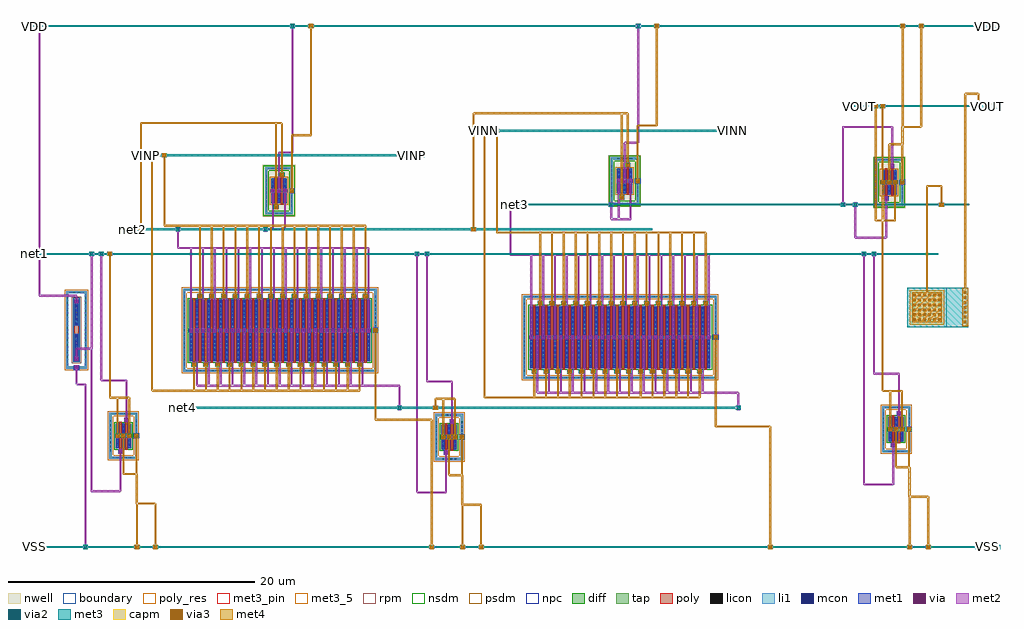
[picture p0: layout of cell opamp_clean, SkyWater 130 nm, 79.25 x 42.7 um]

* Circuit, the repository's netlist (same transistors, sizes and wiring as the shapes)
* NGSPICE file created from opamp_clean.ext - technology: sky130A

.subckt sky130_fd_pr__cap_mim_m3_1_T6P5U4 C2 C1
X0 C1 C2 sky130_fd_pr__cap_mim_m3_1 l=2.8 w=2.8
.ends

.subckt sky130_fd_pr__res_high_po_0p35_TD68X4 B R1 R2
X0 R1 R2 B sky130_fd_pr__res_high_po_0p35 l=0.83
.ends

.subckt sky130_fd_pr__nfet_01v8_BXQZZZ B D0 G0 S1 G1 D2
X0 S1 G0 D0 B sky130_fd_pr__nfet_01v8 ad=0.3 pd=2.3 as=0.59 ps=4.59 w=2 l=0.18
X1 D2 G1 S1 B sky130_fd_pr__nfet_01v8 ad=0.59 pd=4.59 as=0.3 ps=2.3 w=2 l=0.18
.ends

.subckt sky130_fd_pr__nfet_01v8_778P4L B D0 G0 S1 G1 D2 G2 S3 G3 D4 G4 S5 G5 D6 G6
+ S7 G7 D8 G8 S9 G9 D10 G10 S11 G11 D12 G12 S13 G13 D14 G14 S15 G15 D16 G16 S17 G17
+ D18 G18 S19 G19 D20 G20 S21 G21 D22 G22 S23 G23 D24 G24 S25 G25 D26 G26 S27 G27
+ D28 G28 S29 G29 D30
X0 D10 G9 S9 B sky130_fd_pr__nfet_01v8 ad=0.75 pd=5.3 as=0.75 ps=5.3 w=5 l=0.18
X1 S1 G0 D0 B sky130_fd_pr__nfet_01v8 ad=0.75 pd=5.3 as=1.475 ps=10.59 w=5 l=0.18
X2 S7 G6 D6 B sky130_fd_pr__nfet_01v8 ad=0.75 pd=5.3 as=0.75 ps=5.3 w=5 l=0.18
X3 S25 G24 D24 B sky130_fd_pr__nfet_01v8 ad=0.75 pd=5.3 as=0.75 ps=5.3 w=5 l=0.18
X4 D28 G27 S27 B sky130_fd_pr__nfet_01v8 ad=0.75 pd=5.3 as=0.75 ps=5.3 w=5 l=0.18
X5 D18 G17 S17 B sky130_fd_pr__nfet_01v8 ad=0.75 pd=5.3 as=0.75 ps=5.3 w=5 l=0.18
X6 D4 G3 S3 B sky130_fd_pr__nfet_01v8 ad=0.75 pd=5.3 as=0.75 ps=5.3 w=5 l=0.18
X7 S11 G10 D10 B sky130_fd_pr__nfet_01v8 ad=0.75 pd=5.3 as=0.75 ps=5.3 w=5 l=0.18
X8 S21 G20 D20 B sky130_fd_pr__nfet_01v8 ad=0.75 pd=5.3 as=0.75 ps=5.3 w=5 l=0.18
X9 D8 G7 S7 B sky130_fd_pr__nfet_01v8 ad=0.75 pd=5.3 as=0.75 ps=5.3 w=5 l=0.18
X10 D24 G23 S23 B sky130_fd_pr__nfet_01v8 ad=0.75 pd=5.3 as=0.75 ps=5.3 w=5 l=0.18
X11 D14 G13 S13 B sky130_fd_pr__nfet_01v8 ad=0.75 pd=5.3 as=0.75 ps=5.3 w=5 l=0.18
X12 S27 G26 D26 B sky130_fd_pr__nfet_01v8 ad=0.75 pd=5.3 as=0.75 ps=5.3 w=5 l=0.18
X13 S17 G16 D16 B sky130_fd_pr__nfet_01v8 ad=0.75 pd=5.3 as=0.75 ps=5.3 w=5 l=0.18
X14 S5 G4 D4 B sky130_fd_pr__nfet_01v8 ad=0.75 pd=5.3 as=0.75 ps=5.3 w=5 l=0.18
X15 S15 G14 D14 B sky130_fd_pr__nfet_01v8 ad=0.75 pd=5.3 as=0.75 ps=5.3 w=5 l=0.18
X16 D20 G19 S19 B sky130_fd_pr__nfet_01v8 ad=0.75 pd=5.3 as=0.75 ps=5.3 w=5 l=0.18
X17 D30 G29 S29 B sky130_fd_pr__nfet_01v8 ad=1.475 pd=10.59 as=0.75 ps=5.3 w=5 l=0.18
X18 D2 G1 S1 B sky130_fd_pr__nfet_01v8 ad=0.75 pd=5.3 as=0.75 ps=5.3 w=5 l=0.18
X19 D16 G15 S15 B sky130_fd_pr__nfet_01v8 ad=0.75 pd=5.3 as=0.75 ps=5.3 w=5 l=0.18
X20 S23 G22 D22 B sky130_fd_pr__nfet_01v8 ad=0.75 pd=5.3 as=0.75 ps=5.3 w=5 l=0.18
X21 D6 G5 S5 B sky130_fd_pr__nfet_01v8 ad=0.75 pd=5.3 as=0.75 ps=5.3 w=5 l=0.18
X22 D12 G11 S11 B sky130_fd_pr__nfet_01v8 ad=0.75 pd=5.3 as=0.75 ps=5.3 w=5 l=0.18
X23 S19 G18 D18 B sky130_fd_pr__nfet_01v8 ad=0.75 pd=5.3 as=0.75 ps=5.3 w=5 l=0.18
X24 S29 G28 D28 B sky130_fd_pr__nfet_01v8 ad=0.75 pd=5.3 as=0.75 ps=5.3 w=5 l=0.18
X25 S3 G2 D2 B sky130_fd_pr__nfet_01v8 ad=0.75 pd=5.3 as=0.75 ps=5.3 w=5 l=0.18
X26 S9 G8 D8 B sky130_fd_pr__nfet_01v8 ad=0.75 pd=5.3 as=0.75 ps=5.3 w=5 l=0.18
X27 D22 G21 S21 B sky130_fd_pr__nfet_01v8 ad=0.75 pd=5.3 as=0.75 ps=5.3 w=5 l=0.18
X28 D26 G25 S25 B sky130_fd_pr__nfet_01v8 ad=0.75 pd=5.3 as=0.75 ps=5.3 w=5 l=0.18
X29 S13 G12 D12 B sky130_fd_pr__nfet_01v8 ad=0.75 pd=5.3 as=0.75 ps=5.3 w=5 l=0.18
.ends

.subckt sky130_fd_pr__pfet_01v8_ML7HSN B D0 G0 S1 G1 D2
X0 S1 G0 D0 B sky130_fd_pr__pfet_01v8 ad=0.3 pd=2.3 as=0.59 ps=4.59 w=2 l=0.18
X1 D2 G1 S1 B sky130_fd_pr__pfet_01v8 ad=0.59 pd=4.59 as=0.3 ps=2.3 w=2 l=0.18
.ends

.subckt opamp_clean VINP VINN VOUT VDD VSS
XCC VOUT net3 sky130_fd_pr__cap_mim_m3_1_T6P5U4
XR1 VSS VDD net1 sky130_fd_pr__res_high_po_0p35_TD68X4
XM0 VSS net1 net1 VSS net1 net1 sky130_fd_pr__nfet_01v8_BXQZZZ
XM1 VSS net2 VINP net4 VINP net2 VINP net4 VINP net2 VINP net4 VINP net2 VINP net4
+ VINP net2 VINP net4 VINP net2 VINP net4 VINP net2 VINP net4 VINP net2 VINP net4
+ VINP net2 VINP net4 VINP net2 VINP net4 VINP net2 VINP net4 VINP net2 VINP net4
+ VINP net2 VINP net4 VINP net2 VINP net4 VINP net2 VINP net4 VINP net2 sky130_fd_pr__nfet_01v8_778P4L
XM2 VSS net3 VINN net4 VINN net3 VINN net4 VINN net3 VINN net4 VINN net3 VINN net4
+ VINN net3 VINN net4 VINN net3 VINN net4 VINN net3 VINN net4 VINN net3 VINN net4
+ VINN net3 VINN net4 VINN net3 VINN net4 VINN net3 VINN net4 VINN net3 VINN net4
+ VINN net3 VINN net4 VINN net3 VINN net4 VINN net3 VINN net4 VINN net3 sky130_fd_pr__nfet_01v8_778P4L
XM4 VDD net3 net2 VDD net2 net3 sky130_fd_pr__pfet_01v8_ML7HSN
XM3 VDD net2 net2 VDD net2 net2 sky130_fd_pr__pfet_01v8_ML7HSN
XM5 VSS net4 net1 VSS net1 net4 sky130_fd_pr__nfet_01v8_BXQZZZ
XM6 VDD VOUT net3 VDD net3 VOUT sky130_fd_pr__pfet_01v8_ML7HSN
XM7 VSS VOUT net1 VSS net1 VOUT sky130_fd_pr__nfet_01v8_BXQZZZ
.ends

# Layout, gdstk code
import gdstk
lib = gdstk.Library(unit=1e-6, precision=1e-09)
def R(c, l, rs):  # rectangles x0, y0, x1, y1
    for r in rs: c.add(gdstk.rectangle(r[:2], r[2:], *l))
def A(c, l, x, y, w, h, nx, ny, dx, dy):  # array of equal rectangles
    R(c, l, [(x+i*dx, y+j*dy, x+i*dx+w, y+j*dy+h) for i in range(nx) for j in range(ny)])
nwell = (64, 20)
diff = (65, 20)
tap = (65, 44)
poly_res = (66, 13)
poly = (66, 20)
licon = (66, 44)
li1 = (67, 20)
mcon = (67, 44)
met1 = (68, 20)
via = (68, 44)
met2 = (69, 20)
via2 = (69, 44)
met3_5 = (70, 5)
met3_pin = (70, 16)
met3 = (70, 20)
via3 = (70, 44)
met4 = (71, 20)
rpm = (86, 20)
capm = (89, 44)
nsdm = (93, 44)
psdm = (94, 20)
npc = (95, 20)
boundary = (235, 4)

sky130_fd_pr__nfet_01v8_ = lib.new_cell('sky130_fd_pr__nfet_01v8_BXQZZZ')
R(sky130_fd_pr__nfet_01v8_, diff, [(-0.625,-1,0.625,1)])
R(sky130_fd_pr__nfet_01v8_, tap, [(-1.135,-1.87,1.135,-1.7), (-1.135,-1.7,-0.965,1.7), (0.965,-1.7,1.135,1.7), (-1.135,1.7,1.135,1.87)])
R(sky130_fd_pr__nfet_01v8_, poly, [(-0.405,-1.44,-0.075,-1.11), (0.15,-1.13,0.33,1.11), (-0.33,-1.11,-0.15,1.13), (0.075,1.11,0.405,1.44)])
A(sky130_fd_pr__nfet_01v8_, licon, -0.595, -1.87, 0.17, 0.17, 4, 2, 0.34, 3.57)
A(sky130_fd_pr__nfet_01v8_, licon, -1.135, -1.275, 0.17, 0.17, 1, 8, 0, 0.34)
A(sky130_fd_pr__nfet_01v8_, licon, 0.965, -1.275, 0.17, 0.17, 1, 8, 0, 0.34)
A(sky130_fd_pr__nfet_01v8_, licon, -0.565, -0.935, 0.17, 0.17, 3, 6, 0.48, 0.34)
R(sky130_fd_pr__nfet_01v8_, licon, [(-0.325,-1.36,-0.155,-1.19), (0.155,1.19,0.325,1.36)])
A(sky130_fd_pr__nfet_01v8_, li1, -0.565, -1.02, 0.17, 2.04, 3, 1, 0.48, 0)
R(sky130_fd_pr__nfet_01v8_, li1, [(-1.135,-1.87,1.135,-1.7), (-1.135,-1.7,-0.965,1.7), (0.965,-1.7,1.135,1.7), (-0.405,-1.36,-0.075,-1.19), (0.075,1.19,0.405,1.36), (-1.135,1.7,1.135,1.87)])
A(sky130_fd_pr__nfet_01v8_, mcon, -0.565, -0.805, 0.17, 0.17, 3, 5, 0.48, 0.36)
R(sky130_fd_pr__nfet_01v8_, mcon, [(-0.325,-1.36,-0.155,-1.19), (0.155,1.19,0.325,1.36)])
A(sky130_fd_pr__nfet_01v8_, met1, -0.595, -1, 0.23, 2, 3, 1, 0.48, 0)
R(sky130_fd_pr__nfet_01v8_, met1, [(-0.385,-1.39,-0.095,-1.16), (0.095,1.16,0.385,1.39)])
R(sky130_fd_pr__nfet_01v8_, nsdm, [(-0.75,-1.125,0.75,1.125)])
R(sky130_fd_pr__nfet_01v8_, psdm, [(-1.26,-1.995,1.26,-1.575), (-1.26,-1.575,-0.84,1.575), (0.84,-1.575,1.26,1.575), (-1.26,1.575,1.26,1.995)])
R(sky130_fd_pr__nfet_01v8_, npc, [(-0.425,-1.46,-0.055,-1.09), (0.055,1.09,0.425,1.46)])
R(sky130_fd_pr__nfet_01v8_, boundary, [(-1.05,-1.785,1.05,1.785)])
sky130_fd_pr__nfet_01v8_.add(gdstk.Label('B', (0,-1.785), layer=67, texttype=5))
sky130_fd_pr__nfet_01v8_.add(gdstk.Label('D0', (-0.48,0), layer=67, texttype=5))
sky130_fd_pr__nfet_01v8_.add(gdstk.Label('G0', (-0.24,-1.275), layer=67, texttype=5))
sky130_fd_pr__nfet_01v8_.add(gdstk.Label('S1', (0,0), layer=67, texttype=5))
sky130_fd_pr__nfet_01v8_.add(gdstk.Label('G1', (0.24,1.275), layer=67, texttype=5))
sky130_fd_pr__nfet_01v8_.add(gdstk.Label('D2', (0.48,0), layer=67, texttype=5))

c_sky130_fd_pr__nfet_01v8_ = lib.new_cell('sky130_fd_pr__nfet_01v8_778P4L')
R(c_sky130_fd_pr__nfet_01v8_, diff, [(-7.345,-2.5,7.345,2.5)])
R(c_sky130_fd_pr__nfet_01v8_, tap, [(-7.855,-3.37,7.855,-3.2), (-7.855,-3.2,-7.685,3.2), (7.685,-3.2,7.855,3.2), (-7.855,3.2,7.855,3.37)])
A(c_sky130_fd_pr__nfet_01v8_, poly, -7.125, -2.94, 0.33, 0.33, 15, 1, 0.96, 0)
A(c_sky130_fd_pr__nfet_01v8_, poly, -6.57, -2.63, 0.18, 5.24, 15, 1, 0.96, 0)
A(c_sky130_fd_pr__nfet_01v8_, poly, -7.05, -2.61, 0.18, 5.24, 15, 1, 0.96, 0)
A(c_sky130_fd_pr__nfet_01v8_, poly, -6.645, 2.61, 0.33, 0.33, 15, 1, 0.96, 0)
A(c_sky130_fd_pr__nfet_01v8_, licon, -7.225, -3.37, 0.17, 0.17, 43, 2, 0.34, 6.57)
A(c_sky130_fd_pr__nfet_01v8_, licon, -7.045, -2.86, 0.17, 0.17, 15, 1, 0.96, 0)
A(c_sky130_fd_pr__nfet_01v8_, licon, -7.855, -2.805, 0.17, 0.17, 1, 17, 0, 0.34)
A(c_sky130_fd_pr__nfet_01v8_, licon, 7.685, -2.805, 0.17, 0.17, 1, 17, 0, 0.34)
A(c_sky130_fd_pr__nfet_01v8_, licon, -7.285, -2.295, 0.17, 0.17, 31, 14, 0.48, 0.34)
A(c_sky130_fd_pr__nfet_01v8_, licon, -6.565, 2.69, 0.17, 0.17, 15, 1, 0.96, 0)
A(c_sky130_fd_pr__nfet_01v8_, li1, -7.125, -2.86, 0.33, 0.17, 15, 1, 0.96, 0)
A(c_sky130_fd_pr__nfet_01v8_, li1, -7.285, -2.52, 0.17, 5.04, 31, 1, 0.48, 0)
A(c_sky130_fd_pr__nfet_01v8_, li1, -6.645, 2.69, 0.33, 0.17, 15, 1, 0.96, 0)
R(c_sky130_fd_pr__nfet_01v8_, li1, [(-7.855,-3.37,7.855,-3.2), (-7.855,-3.2,-7.685,3.2), (7.685,-3.2,7.855,3.2), (-7.855,3.2,7.855,3.37)])
A(c_sky130_fd_pr__nfet_01v8_, mcon, -7.045, -2.86, 0.17, 0.17, 15, 1, 0.96, 0)
A(c_sky130_fd_pr__nfet_01v8_, mcon, -7.285, -2.425, 0.17, 0.17, 31, 14, 0.48, 0.36)
A(c_sky130_fd_pr__nfet_01v8_, mcon, -6.565, 2.69, 0.17, 0.17, 15, 1, 0.96, 0)
A(c_sky130_fd_pr__nfet_01v8_, met1, -7.105, -2.89, 0.29, 0.23, 15, 1, 0.96, 0)
A(c_sky130_fd_pr__nfet_01v8_, met1, -7.315, -2.5, 0.23, 5, 31, 1, 0.48, 0)
A(c_sky130_fd_pr__nfet_01v8_, met1, -6.625, 2.66, 0.29, 0.23, 15, 1, 0.96, 0)
R(c_sky130_fd_pr__nfet_01v8_, nsdm, [(-7.47,-2.625,7.47,2.625)])
R(c_sky130_fd_pr__nfet_01v8_, psdm, [(-7.98,-3.495,7.98,-3.075), (-7.98,-3.075,-7.56,3.075), (7.56,-3.075,7.98,3.075), (-7.98,3.075,7.98,3.495)])
A(c_sky130_fd_pr__nfet_01v8_, npc, -7.145, -2.96, 0.37, 0.37, 15, 1, 0.96, 0)
A(c_sky130_fd_pr__nfet_01v8_, npc, -6.665, 2.59, 0.37, 0.37, 15, 1, 0.96, 0)
R(c_sky130_fd_pr__nfet_01v8_, boundary, [(-7.77,-3.285,7.77,3.285)])
c_sky130_fd_pr__nfet_01v8_.add(gdstk.Label('B', (0,-3.285), layer=67, texttype=5))
c_sky130_fd_pr__nfet_01v8_.add(gdstk.Label('D0', (-7.2,0), layer=67, texttype=5))
c_sky130_fd_pr__nfet_01v8_.add(gdstk.Label('G0', (-6.96,-2.775), layer=67, texttype=5))
c_sky130_fd_pr__nfet_01v8_.add(gdstk.Label('S1', (-6.72,0), layer=67, texttype=5))
c_sky130_fd_pr__nfet_01v8_.add(gdstk.Label('G1', (-6.48,2.775), layer=67, texttype=5))
c_sky130_fd_pr__nfet_01v8_.add(gdstk.Label('D2', (-6.24,0), layer=67, texttype=5))
c_sky130_fd_pr__nfet_01v8_.add(gdstk.Label('G2', (-6,-2.775), layer=67, texttype=5))
c_sky130_fd_pr__nfet_01v8_.add(gdstk.Label('S3', (-5.76,0), layer=67, texttype=5))
c_sky130_fd_pr__nfet_01v8_.add(gdstk.Label('G3', (-5.52,2.775), layer=67, texttype=5))
c_sky130_fd_pr__nfet_01v8_.add(gdstk.Label('D4', (-5.28,0), layer=67, texttype=5))
c_sky130_fd_pr__nfet_01v8_.add(gdstk.Label('G4', (-5.04,-2.775), layer=67, texttype=5))
c_sky130_fd_pr__nfet_01v8_.add(gdstk.Label('S5', (-4.8,0), layer=67, texttype=5))
c_sky130_fd_pr__nfet_01v8_.add(gdstk.Label('G5', (-4.56,2.775), layer=67, texttype=5))
c_sky130_fd_pr__nfet_01v8_.add(gdstk.Label('D6', (-4.32,0), layer=67, texttype=5))
c_sky130_fd_pr__nfet_01v8_.add(gdstk.Label('G6', (-4.08,-2.775), layer=67, texttype=5))
c_sky130_fd_pr__nfet_01v8_.add(gdstk.Label('S7', (-3.84,0), layer=67, texttype=5))
c_sky130_fd_pr__nfet_01v8_.add(gdstk.Label('G7', (-3.6,2.775), layer=67, texttype=5))
c_sky130_fd_pr__nfet_01v8_.add(gdstk.Label('D8', (-3.36,0), layer=67, texttype=5))
c_sky130_fd_pr__nfet_01v8_.add(gdstk.Label('G8', (-3.12,-2.775), layer=67, texttype=5))
c_sky130_fd_pr__nfet_01v8_.add(gdstk.Label('S9', (-2.88,0), layer=67, texttype=5))
c_sky130_fd_pr__nfet_01v8_.add(gdstk.Label('G9', (-2.64,2.775), layer=67, texttype=5))
c_sky130_fd_pr__nfet_01v8_.add(gdstk.Label('D10', (-2.4,0), layer=67, texttype=5))
c_sky130_fd_pr__nfet_01v8_.add(gdstk.Label('G10', (-2.16,-2.775), layer=67, texttype=5))
c_sky130_fd_pr__nfet_01v8_.add(gdstk.Label('S11', (-1.92,0), layer=67, texttype=5))
c_sky130_fd_pr__nfet_01v8_.add(gdstk.Label('G11', (-1.68,2.775), layer=67, texttype=5))
c_sky130_fd_pr__nfet_01v8_.add(gdstk.Label('D12', (-1.44,0), layer=67, texttype=5))
c_sky130_fd_pr__nfet_01v8_.add(gdstk.Label('G12', (-1.2,-2.775), layer=67, texttype=5))
c_sky130_fd_pr__nfet_01v8_.add(gdstk.Label('S13', (-0.96,0), layer=67, texttype=5))
c_sky130_fd_pr__nfet_01v8_.add(gdstk.Label('G13', (-0.72,2.775), layer=67, texttype=5))
c_sky130_fd_pr__nfet_01v8_.add(gdstk.Label('D14', (-0.48,0), layer=67, texttype=5))
c_sky130_fd_pr__nfet_01v8_.add(gdstk.Label('G14', (-0.24,-2.775), layer=67, texttype=5))
c_sky130_fd_pr__nfet_01v8_.add(gdstk.Label('S15', (0,0), layer=67, texttype=5))
c_sky130_fd_pr__nfet_01v8_.add(gdstk.Label('G15', (0.24,2.775), layer=67, texttype=5))
c_sky130_fd_pr__nfet_01v8_.add(gdstk.Label('D16', (0.48,0), layer=67, texttype=5))
c_sky130_fd_pr__nfet_01v8_.add(gdstk.Label('G16', (0.72,-2.775), layer=67, texttype=5))
c_sky130_fd_pr__nfet_01v8_.add(gdstk.Label('S17', (0.96,0), layer=67, texttype=5))
c_sky130_fd_pr__nfet_01v8_.add(gdstk.Label('G17', (1.2,2.775), layer=67, texttype=5))
c_sky130_fd_pr__nfet_01v8_.add(gdstk.Label('D18', (1.44,0), layer=67, texttype=5))
c_sky130_fd_pr__nfet_01v8_.add(gdstk.Label('G18', (1.68,-2.775), layer=67, texttype=5))
c_sky130_fd_pr__nfet_01v8_.add(gdstk.Label('S19', (1.92,0), layer=67, texttype=5))
c_sky130_fd_pr__nfet_01v8_.add(gdstk.Label('G19', (2.16,2.775), layer=67, texttype=5))
c_sky130_fd_pr__nfet_01v8_.add(gdstk.Label('D20', (2.4,0), layer=67, texttype=5))
c_sky130_fd_pr__nfet_01v8_.add(gdstk.Label('G20', (2.64,-2.775), layer=67, texttype=5))
c_sky130_fd_pr__nfet_01v8_.add(gdstk.Label('S21', (2.88,0), layer=67, texttype=5))
c_sky130_fd_pr__nfet_01v8_.add(gdstk.Label('G21', (3.12,2.775), layer=67, texttype=5))
c_sky130_fd_pr__nfet_01v8_.add(gdstk.Label('D22', (3.36,0), layer=67, texttype=5))
c_sky130_fd_pr__nfet_01v8_.add(gdstk.Label('G22', (3.6,-2.775), layer=67, texttype=5))
c_sky130_fd_pr__nfet_01v8_.add(gdstk.Label('S23', (3.84,0), layer=67, texttype=5))
c_sky130_fd_pr__nfet_01v8_.add(gdstk.Label('G23', (4.08,2.775), layer=67, texttype=5))
c_sky130_fd_pr__nfet_01v8_.add(gdstk.Label('D24', (4.32,0), layer=67, texttype=5))
c_sky130_fd_pr__nfet_01v8_.add(gdstk.Label('G24', (4.56,-2.775), layer=67, texttype=5))
c_sky130_fd_pr__nfet_01v8_.add(gdstk.Label('S25', (4.8,0), layer=67, texttype=5))
c_sky130_fd_pr__nfet_01v8_.add(gdstk.Label('G25', (5.04,2.775), layer=67, texttype=5))
c_sky130_fd_pr__nfet_01v8_.add(gdstk.Label('D26', (5.28,0), layer=67, texttype=5))
c_sky130_fd_pr__nfet_01v8_.add(gdstk.Label('G26', (5.52,-2.775), layer=67, texttype=5))
c_sky130_fd_pr__nfet_01v8_.add(gdstk.Label('S27', (5.76,0), layer=67, texttype=5))
c_sky130_fd_pr__nfet_01v8_.add(gdstk.Label('G27', (6,2.775), layer=67, texttype=5))
c_sky130_fd_pr__nfet_01v8_.add(gdstk.Label('D28', (6.24,0), layer=67, texttype=5))
c_sky130_fd_pr__nfet_01v8_.add(gdstk.Label('G28', (6.48,-2.775), layer=67, texttype=5))
c_sky130_fd_pr__nfet_01v8_.add(gdstk.Label('S29', (6.72,0), layer=67, texttype=5))
c_sky130_fd_pr__nfet_01v8_.add(gdstk.Label('G29', (6.96,2.775), layer=67, texttype=5))
c_sky130_fd_pr__nfet_01v8_.add(gdstk.Label('D30', (7.2,0), layer=67, texttype=5))

sky130_fd_pr__res_high_p = lib.new_cell('sky130_fd_pr__res_high_po_0p35_TD68X4')
R(sky130_fd_pr__res_high_p, tap, [(-0.825,-3.145,0.825,-2.975), (-0.825,-2.975,-0.655,2.975), (0.655,-2.975,0.825,2.975), (-0.825,2.975,0.825,3.145)])
R(sky130_fd_pr__res_high_p, poly_res, [(-0.175,-0.415,0.175,0.415)])
R(sky130_fd_pr__res_high_p, poly, [(-0.175,-2.495,0.175,2.495)])
A(sky130_fd_pr__res_high_p, licon, -0.825, -2.635, 0.17, 0.17, 1, 16, 0, 0.34)
A(sky130_fd_pr__res_high_p, licon, 0.655, -2.635, 0.17, 0.17, 1, 16, 0, 0.34)
R(sky130_fd_pr__res_high_p, licon, [(-0.255,-3.145,-0.085,-2.975), (0.085,-3.145,0.255,-2.975), (-0.095,-2.415,0.095,-0.415), (-0.095,0.415,0.095,2.415), (-0.255,2.975,-0.085,3.145), (0.085,2.975,0.255,3.145)])
R(sky130_fd_pr__res_high_p, li1, [(-0.825,-3.145,0.825,-2.975), (-0.825,-2.975,-0.655,2.975), (0.655,-2.975,0.825,2.975), (-0.175,-2.495,0.175,-0.335), (-0.175,0.335,0.175,2.495), (-0.825,2.975,0.825,3.145)])
A(sky130_fd_pr__res_high_p, mcon, -0.085, -2.4, 0.17, 0.17, 1, 6, 0, 0.36)
A(sky130_fd_pr__res_high_p, mcon, -0.085, 0.425, 0.17, 0.17, 1, 6, 0, 0.36)
R(sky130_fd_pr__res_high_p, met1, [(-0.125,-2.465,0.125,-0.36), (-0.125,0.36,0.125,2.465)])
R(sky130_fd_pr__res_high_p, rpm, [(-0.375,-2.695,0.375,2.695)])
R(sky130_fd_pr__res_high_p, psdm, [(-0.95,-3.27,0.95,3.27)])
R(sky130_fd_pr__res_high_p, npc, [(-0.27,-2.59,0.27,2.59)])
R(sky130_fd_pr__res_high_p, boundary, [(-0.74,-3.06,0.74,3.06)])
sky130_fd_pr__res_high_p.add(gdstk.Label('B', (0,-3.06), layer=67, texttype=5))
sky130_fd_pr__res_high_p.add(gdstk.Label('R1', (0,2.32), layer=67, texttype=5))
sky130_fd_pr__res_high_p.add(gdstk.Label('R2', (0,-2.32), layer=67, texttype=5))

sky130_fd_pr__cap_mim_m3 = lib.new_cell('sky130_fd_pr__cap_mim_m3_1_T6P5U4')
R(sky130_fd_pr__cap_mim_m3, met3, [(-2.48,-1.6,2.48,1.6)])
A(sky130_fd_pr__cap_mim_m3, via3, 2.12, -1.3, 0.2, 0.2, 1, 7, 0, 0.4)
A(sky130_fd_pr__cap_mim_m3, via3, -1.98, -1.1, 0.2, 0.2, 6, 6, 0.4, 0.4)
R(sky130_fd_pr__cap_mim_m3, met4, [(1.98,-1.54,2.46,1.54), (-2.085,-1.205,0.325,1.205)])
R(sky130_fd_pr__cap_mim_m3, capm, [(-2.28,-1.4,0.52,1.4)])
R(sky130_fd_pr__cap_mim_m3, boundary, [(-2.48,-1.6,0.72,1.6)])
sky130_fd_pr__cap_mim_m3.add(gdstk.Label('C2', (2.22,0), layer=71, texttype=5))
sky130_fd_pr__cap_mim_m3.add(gdstk.Label('C1', (-0.88,0), layer=71, texttype=5))

sky130_fd_pr__pfet_01v8_ = lib.new_cell('sky130_fd_pr__pfet_01v8_ML7HSN')
R(sky130_fd_pr__pfet_01v8_, nwell, [(-1.315,-2.095,1.315,2.095)])
R(sky130_fd_pr__pfet_01v8_, diff, [(-0.625,-1,0.625,1)])
R(sky130_fd_pr__pfet_01v8_, tap, [(-1.135,-1.915,1.135,-1.745), (-1.135,-1.745,-0.965,1.745), (0.965,-1.745,1.135,1.745), (-1.135,1.745,1.135,1.915)])
R(sky130_fd_pr__pfet_01v8_, poly, [(-0.405,-1.485,-0.075,-1.155), (-0.33,-1.155,-0.15,1.13), (0.15,-1.13,0.33,1.155), (0.075,1.155,0.405,1.485)])
A(sky130_fd_pr__pfet_01v8_, licon, -0.595, -1.915, 0.17, 0.17, 4, 2, 0.34, 3.66)
A(sky130_fd_pr__pfet_01v8_, licon, -1.135, -1.275, 0.17, 0.17, 1, 8, 0, 0.34)
A(sky130_fd_pr__pfet_01v8_, licon, 0.965, -1.275, 0.17, 0.17, 1, 8, 0, 0.34)
A(sky130_fd_pr__pfet_01v8_, licon, -0.565, -0.935, 0.17, 0.17, 3, 6, 0.48, 0.34)
R(sky130_fd_pr__pfet_01v8_, licon, [(-0.325,-1.405,-0.155,-1.235), (0.155,1.235,0.325,1.405)])
A(sky130_fd_pr__pfet_01v8_, li1, -0.565, -1.02, 0.17, 2.04, 3, 1, 0.48, 0)
R(sky130_fd_pr__pfet_01v8_, li1, [(-1.135,-1.915,1.135,-1.745), (-1.135,-1.745,-0.965,1.745), (0.965,-1.745,1.135,1.745), (-0.405,-1.405,-0.075,-1.235), (0.075,1.235,0.405,1.405), (-1.135,1.745,1.135,1.915)])
A(sky130_fd_pr__pfet_01v8_, mcon, -0.565, -0.805, 0.17, 0.17, 3, 5, 0.48, 0.36)
R(sky130_fd_pr__pfet_01v8_, mcon, [(-0.325,-1.405,-0.155,-1.235), (0.155,1.235,0.325,1.405)])
A(sky130_fd_pr__pfet_01v8_, met1, -0.595, -1, 0.23, 2, 3, 1, 0.48, 0)
R(sky130_fd_pr__pfet_01v8_, met1, [(-0.385,-1.435,-0.095,-1.205), (0.095,1.205,0.385,1.435)])
R(sky130_fd_pr__pfet_01v8_, nsdm, [(-1.26,-2.04,1.26,-1.62), (-1.26,-1.62,-0.84,1.62), (0.84,-1.62,1.26,1.62), (-1.26,1.62,1.26,2.04)])
R(sky130_fd_pr__pfet_01v8_, psdm, [(-0.75,-1.125,0.75,1.125)])
R(sky130_fd_pr__pfet_01v8_, npc, [(-0.425,-1.505,-0.055,-1.135), (0.055,1.135,0.425,1.505)])
R(sky130_fd_pr__pfet_01v8_, boundary, [(-1.05,-1.83,1.05,1.83)])
sky130_fd_pr__pfet_01v8_.add(gdstk.Label('B', (0,-1.83), layer=67, texttype=5))
sky130_fd_pr__pfet_01v8_.add(gdstk.Label('D0', (-0.48,0), layer=67, texttype=5))
sky130_fd_pr__pfet_01v8_.add(gdstk.Label('G0', (-0.24,-1.32), layer=67, texttype=5))
sky130_fd_pr__pfet_01v8_.add(gdstk.Label('S1', (0,0), layer=67, texttype=5))
sky130_fd_pr__pfet_01v8_.add(gdstk.Label('G1', (0.24,1.32), layer=67, texttype=5))
sky130_fd_pr__pfet_01v8_.add(gdstk.Label('D2', (0.48,0), layer=67, texttype=5))

opamp_clean = lib.new_cell('opamp_clean')
R(opamp_clean, li1, [(22.39,-5.545,22.74,-5.195), (-4.05,-5.455,-3.7,-5.105), (58.69,-4.905,59.04,-4.555), (-8.91,0.095,-8.56,0.445), (42.99,2.555,43.34,2.905), (15.365,3.11,15.715,3.46), (8.58,14.45,8.93,14.8), (58.13,15.13,58.48,15.48), (36.65,15.24,37,15.59)])
R(opamp_clean, mcon, [(22.48,-5.455,22.65,-5.285), (-3.96,-5.365,-3.79,-5.195), (58.78,-4.815,58.95,-4.645), (-8.82,0.185,-8.65,0.355), (43.08,2.645,43.25,2.815), (15.455,3.2,15.625,3.37), (8.67,14.54,8.84,14.71), (58.22,15.22,58.39,15.39), (36.74,15.33,36.91,15.5)])
A(opamp_clean, met1, 20.855, -5.5, 0.36, 0.26, 3, 1, 0.48, 0)
A(opamp_clean, met1, -5.585, -5.41, 0.36, 0.26, 3, 1, 0.48, 0)
A(opamp_clean, met1, 57.155, -4.86, 0.36, 0.26, 3, 1, 0.48, 0)
A(opamp_clean, met1, 28.255, -0.175, 0.36, 0.26, 15, 1, 0.96, 0)
A(opamp_clean, met1, 0.63, 0.38, 0.36, 0.26, 15, 1, 0.96, 0)
A(opamp_clean, met1, 28.015, 2.6, 0.36, 0.26, 31, 1, 0.48, 0)
A(opamp_clean, met1, 0.39, 3.155, 0.36, 0.26, 31, 1, 0.48, 0)
A(opamp_clean, met1, 28.735, 5.375, 0.36, 0.26, 15, 1, 0.96, 0)
A(opamp_clean, met1, 1.11, 5.93, 0.36, 0.26, 15, 1, 0.96, 0)
A(opamp_clean, met1, 7.045, 14.495, 0.36, 0.26, 3, 1, 0.48, 0)
A(opamp_clean, met1, 56.595, 15.175, 0.36, 0.26, 3, 1, 0.48, 0)
A(opamp_clean, met1, 35.115, 15.285, 0.36, 0.26, 3, 1, 0.48, 0)
R(opamp_clean, met1, [(21.095,-6.775,21.455,-6.515), (-5.345,-6.685,-4.985,-6.425), (57.395,-6.135,57.755,-5.875), (22.33,-5.575,22.8,-5.165), (-4.11,-5.485,-3.64,-5.075), (58.63,-4.935,59.1,-4.525), (21.575,-4.225,21.935,-3.965), (-4.865,-4.135,-4.505,-3.875), (57.875,-3.585,58.235,-3.325), (-8.97,0.065,-8.5,0.475), (-8.915,0.88,-8.555,1.14), (42.93,2.525,43.4,2.935), (15.305,3.08,15.775,3.49), (-8.915,5.52,-8.555,5.78), (7.285,13.175,7.645,13.435), (56.835,13.855,57.195,14.115), (35.355,13.965,35.715,14.225), (8.52,14.42,8.99,14.83), (58.07,15.1,58.54,15.51), (36.59,15.21,37.06,15.62), (7.765,15.815,8.125,16.075), (57.315,16.495,57.675,16.755), (35.835,16.605,36.195,16.865)])
A(opamp_clean, via, 20.96, -5.445, 0.15, 0.15, 3, 1, 0.48, 0)
A(opamp_clean, via, -5.48, -5.355, 0.15, 0.15, 3, 1, 0.48, 0)
A(opamp_clean, via, 57.26, -4.805, 0.15, 0.15, 3, 1, 0.48, 0)
A(opamp_clean, via, 28.36, -0.12, 0.15, 0.15, 15, 1, 0.96, 0)
A(opamp_clean, via, 0.735, 0.435, 0.15, 0.15, 15, 1, 0.96, 0)
A(opamp_clean, via, 28.12, 2.655, 0.15, 0.15, 31, 1, 0.48, 0)
A(opamp_clean, via, 0.495, 3.21, 0.15, 0.15, 31, 1, 0.48, 0)
A(opamp_clean, via, 28.84, 5.43, 0.15, 0.15, 15, 1, 0.96, 0)
A(opamp_clean, via, 1.215, 5.985, 0.15, 0.15, 15, 1, 0.96, 0)
A(opamp_clean, via, 7.15, 14.55, 0.15, 0.15, 3, 1, 0.48, 0)
A(opamp_clean, via, 56.7, 15.23, 0.15, 0.15, 3, 1, 0.48, 0)
A(opamp_clean, via, 35.22, 15.34, 0.15, 0.15, 3, 1, 0.48, 0)
R(opamp_clean, via, [(21.2,-6.72,21.35,-6.57), (-5.24,-6.63,-5.09,-6.48), (57.5,-6.08,57.65,-5.93), (22.49,-5.445,22.64,-5.295), (-3.95,-5.355,-3.8,-5.205), (58.79,-4.805,58.94,-4.655), (21.68,-4.17,21.83,-4.02), (-4.76,-4.08,-4.61,-3.93), (57.98,-3.53,58.13,-3.38), (-8.81,0.195,-8.66,0.345), (-8.81,0.935,-8.66,1.085), (43.09,2.655,43.24,2.805), (15.465,3.21,15.615,3.36), (-8.81,5.575,-8.66,5.725), (7.39,13.23,7.54,13.38), (56.94,13.91,57.09,14.06), (35.46,14.02,35.61,14.17), (8.68,14.55,8.83,14.7), (58.23,15.23,58.38,15.38), (36.75,15.34,36.9,15.49), (7.87,15.87,8.02,16.02), (57.42,16.55,57.57,16.7), (35.94,16.66,36.09,16.81)])
A(opamp_clean, met2, 20.895, -5.56, 0.28, 0.38, 3, 1, 0.48, 0)
A(opamp_clean, met2, -5.545, -5.47, 0.28, 0.38, 3, 1, 0.48, 0)
A(opamp_clean, met2, 57.195, -4.92, 0.28, 0.38, 3, 1, 0.48, 0)
A(opamp_clean, met2, 28.605, -1.7, 0.14, 4.25, 15, 1, 0.96, 0)
A(opamp_clean, met2, 0.98, -1.145, 0.14, 4.25, 15, 1, 0.96, 0)
A(opamp_clean, met2, 28.295, -0.235, 0.28, 0.38, 15, 1, 0.96, 0)
A(opamp_clean, met2, 0.67, 0.32, 0.28, 0.38, 15, 1, 0.96, 0)
A(opamp_clean, met2, 28.065, 2.55, 0.26, 0.36, 31, 1, 0.48, 0)
A(opamp_clean, met2, 28.125, 2.91, 0.14, 6.45, 16, 1, 0.96, 0)
A(opamp_clean, met2, 0.44, 3.105, 0.26, 0.36, 31, 1, 0.48, 0)
A(opamp_clean, met2, 0.5, 3.465, 0.14, 6.45, 16, 1, 0.96, 0)
A(opamp_clean, met2, 28.775, 5.315, 0.28, 0.38, 15, 1, 0.96, 0)
A(opamp_clean, met2, 1.15, 5.87, 0.28, 0.38, 15, 1, 0.96, 0)
A(opamp_clean, met2, 7.095, 14.445, 0.26, 0.36, 3, 1, 0.48, 0)
A(opamp_clean, met2, 56.635, 15.115, 0.28, 0.38, 3, 1, 0.48, 0)
A(opamp_clean, met2, 35.165, 15.235, 0.26, 0.36, 3, 1, 0.48, 0)
R(opamp_clean, met2, [(-8.14,-14.49,-7.86,-14.11), (-8.07,-14.11,-7.93,-1.17), (18.915,-9.94,21.275,-9.87), (18.845,-9.87,21.345,-9.8), (-7.525,-9.85,-5.165,-9.78), (18.845,-9.8,18.985,9.31), (21.205,-9.8,21.345,-6.825), (-7.595,-9.78,-5.095,-9.71), (-7.595,-9.71,-7.455,1.73), (-5.235,-9.71,-5.095,-6.735), (55.215,-9.3,57.575,-9.23), (55.145,-9.23,57.645,-9.16), (55.145,-9.16,55.285,9.31), (57.505,-9.16,57.645,-6.185), (21.145,-6.825,21.405,-6.465), (-5.295,-6.735,-5.035,-6.375), (57.445,-6.185,57.705,-5.825), (22.425,-5.56,22.705,-5.18), (-4.015,-5.47,-3.735,-5.09), (58.725,-4.92,59.005,-4.54), (21.625,-4.275,21.885,-3.915), (-4.815,-4.185,-4.555,-3.825), (21.685,-3.915,21.825,-0.94), (-4.755,-3.825,-4.615,-0.85), (57.925,-3.635,58.185,-3.275), (57.985,-3.275,58.125,-0.3), (17.36,-3.19,17.64,-2.81), (44.86,-3.19,45.14,-2.81), (17.43,-2.81,17.57,-1.285), (44.93,-2.81,45.07,-1.84), (28.675,-1.84,45.07,-1.77), (28.605,-1.77,45,-1.7), (1.05,-1.285,17.57,-1.215), (0.98,-1.215,17.5,-1.145), (-8.735,-1.17,-7.93,-1.1), (-8.805,-1.1,-8,-1.03), (-8.805,-1.03,-8.665,0.09), (19.715,-0.94,21.825,-0.87), (19.645,-0.87,21.755,-0.8), (-6.725,-0.85,-4.615,-0.78), (19.645,-0.8,19.785,9.31), (-6.795,-0.78,-4.685,-0.71), (-6.795,-0.71,-6.655,9.31), (56.015,-0.3,58.125,-0.23), (55.945,-0.23,58.055,-0.16), (55.945,-0.16,56.085,9.31), (-8.865,0.09,-8.605,0.45), (-8.865,0.83,-8.605,1.19), (-8.805,1.19,-8.665,1.73), (-8.805,1.73,-7.455,1.8), (-8.735,1.8,-7.43,1.87), (-7.595,1.87,-7.43,9.31), (43.025,2.54,43.305,2.92), (15.4,3.095,15.68,3.475), (-8.865,5.47,-8.605,5.83), (-8.805,5.83,-8.665,6.03), (-11.75,6.03,-8.665,6.1), (-11.82,6.1,-8.735,6.17), (-11.82,6.17,-11.68,27.81), (-7.665,9.31,-7.36,9.69), (-6.865,9.31,-6.585,9.69), (18.775,9.31,19.055,9.69), (19.575,9.31,19.855,9.69), (55.075,9.31,55.355,9.69), (55.875,9.31,56.155,9.69), (26.5,9.36,42.665,9.43), (26.43,9.43,42.595,9.5), (26.43,9.5,26.57,13.31), (-0.5,9.915,15.04,9.985), (-0.57,9.985,14.97,10.055), (-0.57,10.055,-0.43,11.31), (54.5,10.735,57.015,10.805), (54.43,10.805,57.085,10.875), (54.43,10.875,54.57,13.31), (56.945,10.875,57.085,13.805), (-0.64,11.31,-0.36,11.69), (6.465,11.31,6.745,11.455), (6.465,11.455,8.185,11.525), (6.465,11.525,8.255,11.595), (6.465,11.595,6.745,11.69), (7.155,11.595,7.295,14.445), (8.115,11.595,8.255,14.445), (34.675,12.245,36.255,12.315), (34.605,12.315,36.325,12.385), (34.605,12.385,34.745,13.31), (35.225,12.385,35.365,15.235), (36.185,12.385,36.325,15.235), (7.325,13.115,7.605,13.495), (26.36,13.31,26.64,13.69), (34.535,13.31,34.815,13.69), (53.36,13.31,53.64,13.69), (54.36,13.31,54.64,13.69), (53.43,13.69,53.57,19.735), (56.885,13.805,57.145,14.165), (35.395,13.905,35.675,14.285), (8.615,14.435,8.895,14.815), (7.635,14.805,7.775,17.655), (58.165,15.115,58.445,15.495), (36.685,15.225,36.965,15.605), (35.705,15.595,35.845,18.445), (7.805,15.755,8.085,16.135), (57.365,16.445,57.625,16.805), (35.875,16.545,36.155,16.925), (57.425,16.805,57.565,19.735), (7.635,17.655,8.805,17.725), (7.705,17.725,8.875,17.795), (8.735,17.795,8.875,27.81), (35.705,18.445,36.875,18.515), (35.775,18.515,36.945,18.585), (36.805,18.585,36.945,27.81), (53.43,19.735,57.565,19.805), (53.5,19.805,57.495,19.875), (-11.89,27.81,-11.61,28.19), (8.665,27.81,8.945,28.19), (36.735,27.81,37.015,28.19)])
A(opamp_clean, via2, 20.935, -5.47, 0.2, 0.2, 3, 1, 0.48, 0)
A(opamp_clean, via2, -5.505, -5.38, 0.2, 0.2, 3, 1, 0.48, 0)
A(opamp_clean, via2, 57.235, -4.83, 0.2, 0.2, 3, 1, 0.48, 0)
A(opamp_clean, via2, 28.335, -0.145, 0.2, 0.2, 15, 1, 0.96, 0)
A(opamp_clean, via2, 0.71, 0.41, 0.2, 0.2, 15, 1, 0.96, 0)
A(opamp_clean, via2, 28.815, 5.405, 0.2, 0.2, 15, 1, 0.96, 0)
A(opamp_clean, via2, 1.19, 5.96, 0.2, 0.2, 15, 1, 0.96, 0)
A(opamp_clean, via2, 56.675, 15.205, 0.2, 0.2, 3, 1, 0.48, 0)
R(opamp_clean, via2, [(-8.1,-14.4,-7.9,-14.2), (22.465,-5.47,22.665,-5.27), (-3.975,-5.38,-3.775,-5.18), (58.765,-4.83,58.965,-4.63), (17.4,-3.1,17.6,-2.9), (44.9,-3.1,45.1,-2.9), (43.065,2.63,43.265,2.83), (15.44,3.185,15.64,3.385), (-7.615,9.4,-7.415,9.6), (-6.825,9.4,-6.625,9.6), (18.815,9.4,19.015,9.6), (19.615,9.4,19.815,9.6), (55.115,9.4,55.315,9.6), (55.915,9.4,56.115,9.6), (-0.6,11.4,-0.4,11.6), (6.505,11.4,6.705,11.6), (7.365,13.205,7.565,13.405), (26.4,13.4,26.6,13.6), (34.575,13.4,34.775,13.6), (53.4,13.4,53.6,13.6), (54.4,13.4,54.6,13.6), (35.435,13.995,35.635,14.195), (8.655,14.525,8.855,14.725), (58.205,15.205,58.405,15.405), (36.725,15.315,36.925,15.515), (7.845,15.845,8.045,16.045), (35.915,16.635,36.115,16.835), (-11.85,27.9,-11.65,28.1), (8.705,27.9,8.905,28.1), (36.775,27.9,36.975,28.1)])
R(opamp_clean, met3_5, [(-12.6,-14.37,-11.7,-14.23), (-0.6,-3.07,0.3,-2.93), (-12.6,9.43,-11.7,9.57), (-4.6,11.43,-3.7,11.57), (26.4,13.43,27.3,13.57), (-3.6,17.43,-2.7,17.57), (23.9,19.43,24.8,19.57), (54.4,21.43,55.3,21.57), (-12.6,27.93,-11.7,28.07)])
R(opamp_clean, met3_pin, [(64.25,-14.5,66.25,-14.1), (17.5,17.3,19.5,17.7), (43.5,19.3,45.5,19.7), (64.25,21.3,66.25,21.7), (64.25,27.8,66.25,28.2)])
A(opamp_clean, met3, 20.845, -5.535, 0.38, 0.005, 3, 2, 0.48, 0.325)
A(opamp_clean, met3, 20.825, -5.53, 0.42, 0.32, 3, 1, 0.48, 0)
A(opamp_clean, met3, -5.595, -5.445, 0.38, 0.005, 3, 2, 0.48, 0.325)
A(opamp_clean, met3, -5.615, -5.44, 0.42, 0.32, 3, 1, 0.48, 0)
A(opamp_clean, met3, 57.145, -4.895, 0.38, 0.005, 3, 2, 0.48, 0.325)
A(opamp_clean, met3, 57.125, -4.89, 0.42, 0.32, 3, 1, 0.48, 0)
A(opamp_clean, met3, 28.245, -0.21, 0.38, 0.005, 15, 2, 0.96, 0.325)
A(opamp_clean, met3, 28.225, -0.205, 0.42, 0.32, 15, 1, 0.96, 0)
A(opamp_clean, met3, 0.62, 0.345, 0.38, 0.005, 15, 2, 0.96, 0.325)
A(opamp_clean, met3, 0.6, 0.35, 0.42, 0.32, 15, 1, 0.96, 0)
A(opamp_clean, met3, 28.725, 5.34, 0.38, 0.005, 15, 2, 0.96, 0.325)
A(opamp_clean, met3, 28.705, 5.345, 0.42, 0.32, 15, 1, 0.96, 0)
A(opamp_clean, met3, 1.1, 5.895, 0.38, 0.005, 15, 2, 0.96, 0.325)
A(opamp_clean, met3, 1.08, 5.9, 0.42, 0.32, 15, 1, 0.96, 0)
A(opamp_clean, met3, 56.585, 15.14, 0.38, 0.005, 3, 2, 0.48, 0.325)
A(opamp_clean, met3, 56.565, 15.145, 0.42, 0.32, 3, 1, 0.48, 0)
R(opamp_clean, met3, [(64.25,-14.5,66.25,-14.37), (-8.19,-14.465,-7.81,-14.37), (-4.035,-14.46,-3.615,-14.37), (-2.535,-14.46,-2.115,-14.37), (19.89,-14.46,20.31,-14.37), (22.405,-14.46,22.825,-14.37), (23.905,-14.46,24.325,-14.37), (47.39,-14.46,47.81,-14.37), (58.705,-14.46,59.125,-14.37), (60.205,-14.46,60.625,-14.37), (-13,-14.37,66.25,-14.23), (-8.19,-14.23,-7.81,-14.135), (-4.035,-14.23,-3.615,-14.14), (-2.535,-14.23,-2.115,-14.14), (19.89,-14.23,20.31,-14.14), (22.405,-14.23,22.825,-14.14), (23.905,-14.23,24.325,-14.14), (47.39,-14.23,47.81,-14.14), (58.705,-14.23,59.125,-14.14), (60.205,-14.23,60.625,-14.14), (64.25,-14.23,66.25,-14.1), (22.375,-5.535,22.755,-5.53), (22.355,-5.53,22.775,-5.21), (-4.065,-5.445,-3.685,-5.44), (-4.085,-5.44,-3.665,-5.12), (22.375,-5.21,22.755,-5.205), (-4.065,-5.12,-3.685,-5.115), (58.675,-4.895,59.055,-4.89), (58.655,-4.89,59.075,-4.57), (58.675,-4.57,59.055,-4.565), (17.31,-3.165,17.69,-3.07), (44.81,-3.165,45.19,-3.07), (20.205,-3.16,20.625,-3.07), (-1,-3.07,45.19,-2.93), (17.31,-2.93,17.69,-2.835), (20.205,-2.93,20.625,-2.84), (44.81,-2.93,45.19,-2.835), (42.975,2.565,43.355,2.57), (42.955,2.57,43.375,2.89), (42.975,2.89,43.355,2.895), (15.35,3.12,15.73,3.125), (15.33,3.125,15.75,3.445), (15.35,3.445,15.73,3.45), (63.21,5,63.63,5.32), (-7.715,9.335,-7.31,9.43), (-6.915,9.335,-6.535,9.43), (18.725,9.335,19.105,9.43), (19.525,9.335,19.905,9.43), (55.025,9.335,55.405,9.43), (55.825,9.335,56.205,9.43), (-6.235,9.34,-5.815,9.43), (-13,9.43,61.25,9.57), (-7.715,9.57,-7.31,9.665), (-6.915,9.57,-6.535,9.665), (-6.235,9.57,-5.815,9.66), (18.725,9.57,19.105,9.665), (19.525,9.57,19.905,9.665), (55.025,9.57,55.405,9.665), (55.825,9.57,56.205,9.665), (-0.69,11.335,-0.31,11.43), (6.415,11.335,6.795,11.43), (-3.71,11.34,-3.29,11.43), (23.29,11.34,23.71,11.43), (-5,11.43,38,11.57), (-3.71,11.57,-3.29,11.66), (-0.69,11.57,-0.31,11.665), (6.415,11.57,6.795,11.665), (23.29,11.57,23.71,11.66), (7.275,13.14,7.655,13.145), (7.255,13.145,7.675,13.465), (26.31,13.335,26.69,13.43), (34.485,13.335,34.865,13.43), (53.31,13.335,53.69,13.43), (54.31,13.335,54.69,13.43), (61.29,13.34,61.71,13.43), (26,13.43,63.75,13.57), (7.275,13.465,7.655,13.47), (26.31,13.57,26.69,13.665), (34.485,13.57,34.865,13.665), (53.31,13.57,53.69,13.665), (54.31,13.57,54.69,13.665), (61.29,13.57,61.71,13.66), (35.345,13.93,35.725,13.935), (35.325,13.935,35.745,14.255), (35.345,14.255,35.725,14.26), (8.565,14.46,8.945,14.465), (8.545,14.465,8.965,14.785), (8.565,14.785,8.945,14.79), (58.115,15.14,58.495,15.145), (58.095,15.145,58.515,15.465), (36.635,15.25,37.015,15.255), (36.615,15.255,37.035,15.575), (58.115,15.465,58.495,15.47), (36.635,15.575,37.015,15.58), (7.755,15.78,8.135,15.785), (7.735,15.785,8.155,16.105), (7.755,16.105,8.135,16.11), (35.825,16.57,36.205,16.575), (35.805,16.575,36.225,16.895), (35.825,16.895,36.205,16.9), (17.5,17.3,19.5,17.43), (-2.81,17.34,-2.39,17.43), (-1.81,17.34,-1.39,17.43), (-4,17.43,19.5,17.57), (-2.81,17.57,-2.39,17.66), (-1.81,17.57,-1.39,17.66), (17.5,17.57,19.5,17.7), (43.5,19.3,45.5,19.43), (24.19,19.34,24.61,19.43), (25.19,19.34,25.61,19.43), (23.5,19.43,45.5,19.57), (24.19,19.57,24.61,19.66), (25.19,19.57,25.61,19.66), (43.5,19.57,45.5,19.7), (64.25,21.3,66.25,21.43), (55.945,21.34,56.365,21.43), (56.505,21.34,56.925,21.43), (54,21.43,66.25,21.57), (55.945,21.57,56.365,21.66), (56.505,21.57,56.925,21.66), (64.25,21.57,66.25,21.7), (64.25,27.8,66.25,27.93), (-11.94,27.835,-11.56,27.93), (8.615,27.835,8.995,27.93), (36.685,27.835,37.065,27.93), (10.095,27.84,10.515,27.93), (38.165,27.84,38.585,27.93), (58.145,27.84,58.565,27.93), (59.645,27.84,60.065,27.93), (-13,27.93,66.25,28.07), (-11.94,28.07,-11.56,28.165), (8.615,28.07,8.995,28.165), (10.095,28.07,10.515,28.16), (36.685,28.07,37.065,28.165), (38.165,28.07,38.585,28.16), (58.145,28.07,58.565,28.16), (59.645,28.07,60.065,28.16), (64.25,28.07,66.25,28.2)])
A(opamp_clean, via3, 20.935, -5.47, 0.2, 0.2, 3, 1, 0.48, 0)
A(opamp_clean, via3, -5.505, -5.38, 0.2, 0.2, 3, 1, 0.48, 0)
A(opamp_clean, via3, 57.235, -4.83, 0.2, 0.2, 3, 1, 0.48, 0)
A(opamp_clean, via3, 28.335, -0.145, 0.2, 0.2, 15, 1, 0.96, 0)
A(opamp_clean, via3, 0.71, 0.41, 0.2, 0.2, 15, 1, 0.96, 0)
A(opamp_clean, via3, 28.815, 5.405, 0.2, 0.2, 15, 1, 0.96, 0)
A(opamp_clean, via3, 1.19, 5.96, 0.2, 0.2, 15, 1, 0.96, 0)
A(opamp_clean, via3, 56.675, 15.205, 0.2, 0.2, 3, 1, 0.48, 0)
R(opamp_clean, via3, [(-3.925,-14.4,-3.725,-14.2), (-2.425,-14.4,-2.225,-14.2), (20,-14.4,20.2,-14.2), (22.515,-14.4,22.715,-14.2), (24.015,-14.4,24.215,-14.2), (47.5,-14.4,47.7,-14.2), (58.815,-14.4,59.015,-14.2), (60.315,-14.4,60.515,-14.2), (22.465,-5.47,22.665,-5.27), (-3.975,-5.38,-3.775,-5.18), (58.765,-4.83,58.965,-4.63), (20.315,-3.1,20.515,-2.9), (43.065,2.63,43.265,2.83), (15.44,3.185,15.64,3.385), (63.32,5.06,63.52,5.26), (-6.125,9.4,-5.925,9.6), (-3.6,11.4,-3.4,11.6), (23.4,11.4,23.6,11.6), (7.365,13.205,7.565,13.405), (61.4,13.4,61.6,13.6), (35.435,13.995,35.635,14.195), (8.655,14.525,8.855,14.725), (58.205,15.205,58.405,15.405), (36.725,15.315,36.925,15.515), (7.845,15.845,8.045,16.045), (35.915,16.635,36.115,16.835), (-2.7,17.4,-2.5,17.6), (-1.7,17.4,-1.5,17.6), (24.3,19.4,24.5,19.6), (25.3,19.4,25.5,19.6), (56.055,21.4,56.255,21.6), (56.615,21.4,56.815,21.6), (64.4,21.4,64.6,21.6), (10.205,27.9,10.405,28.1), (38.275,27.9,38.475,28.1), (58.255,27.9,58.455,28.1), (59.755,27.9,59.955,28.1)])
A(opamp_clean, met4, 20.87, -5.535, 0.33, 0.33, 3, 1, 0.48, 0)
A(opamp_clean, met4, -5.57, -5.445, 0.33, 0.33, 3, 1, 0.48, 0)
A(opamp_clean, met4, 57.17, -4.895, 0.33, 0.33, 3, 1, 0.48, 0)
A(opamp_clean, met4, 28.365, -2.1, 0.14, 1.89, 15, 1, 0.96, 0)
A(opamp_clean, met4, 0.74, -1.545, 0.14, 1.89, 15, 1, 0.96, 0)
A(opamp_clean, met4, 28.27, -0.21, 0.33, 0.33, 15, 1, 0.96, 0)
A(opamp_clean, met4, 0.645, 0.345, 0.33, 0.33, 15, 1, 0.96, 0)
A(opamp_clean, met4, 28.75, 5.34, 0.33, 0.33, 15, 1, 0.96, 0)
A(opamp_clean, met4, 28.845, 5.67, 0.14, 5.49, 15, 1, 0.96, 0)
A(opamp_clean, met4, 1.125, 5.895, 0.33, 0.33, 15, 1, 0.96, 0)
A(opamp_clean, met4, 1.22, 6.225, 0.14, 5.49, 15, 1, 0.96, 0)
A(opamp_clean, met4, 56.61, 15.14, 0.33, 0.33, 3, 1, 0.48, 0)
R(opamp_clean, met4, [(-3.99,-14.465,-3.66,-14.135), (-2.49,-14.465,-2.16,-14.135), (19.935,-14.465,20.265,-14.135), (22.45,-14.465,22.78,-14.135), (23.95,-14.465,24.28,-14.135), (47.435,-14.465,47.765,-14.135), (58.75,-14.465,59.08,-14.135), (60.25,-14.465,60.58,-14.135), (-3.895,-14.135,-3.755,-10.85), (-2.395,-14.135,-2.255,-10.85), (20.03,-14.135,20.17,-4.035), (22.545,-14.135,22.685,-10.94), (24.045,-14.135,24.185,-10.94), (47.53,-14.135,47.67,-4.59), (58.845,-14.135,58.985,-10.3), (60.345,-14.135,60.485,-10.3), (22.545,-10.94,24.185,-10.87), (22.495,-10.87,24.115,-10.8), (-3.895,-10.85,-2.255,-10.78), (22.495,-10.8,22.685,-8.54), (-3.945,-10.78,-2.325,-10.71), (-3.945,-10.71,-3.755,-8.45), (58.845,-10.3,60.485,-10.23), (58.795,-10.23,60.415,-10.16), (58.795,-10.16,58.985,-7.9), (21.515,-8.54,22.685,-8.47), (21.445,-8.47,22.635,-8.4), (-4.925,-8.45,-3.755,-8.38), (21.445,-8.4,21.585,-5.535), (22.495,-8.4,22.635,-5.535), (-4.995,-8.38,-3.805,-8.31), (-4.995,-8.31,-4.855,-5.445), (-3.945,-8.31,-3.805,-5.445), (57.815,-7.9,58.985,-7.83), (57.745,-7.83,58.935,-7.76), (57.745,-7.76,57.885,-4.895), (58.795,-7.76,58.935,-4.895), (22.4,-5.535,22.73,-5.205), (-4.04,-5.445,-3.71,-5.115), (20.965,-5.205,21.105,-2.34), (21.925,-5.205,22.065,-2.34), (-5.475,-5.115,-5.335,-2.25), (-4.515,-5.115,-4.375,-2.25), (58.7,-4.895,59.03,-4.565), (43.165,-4.59,47.67,-4.52), (57.265,-4.565,57.405,-1.7), (58.225,-4.565,58.365,-1.7), (43.095,-4.52,47.6,-4.45), (43.095,-4.45,43.235,2.565), (15.54,-4.035,20.17,-3.965), (15.47,-3.965,20.1,-3.895), (15.47,-3.895,15.61,3.12), (20.25,-3.165,20.58,-2.835), (20.345,-2.835,20.485,-2.34), (20.345,-2.34,22.065,-2.27), (20.415,-2.27,21.995,-2.2), (-6.025,-2.25,-4.375,-2.18), (24.4,-2.24,41.875,-2.17), (-6.095,-2.18,-4.445,-2.11), (24.33,-2.17,41.945,-2.1), (-6.095,-2.11,-5.955,9.335), (24.33,-2.1,24.47,19.335), (56.715,-1.7,58.365,-1.63), (-2.6,-1.685,14.25,-1.615), (56.645,-1.63,58.295,-1.56), (-2.67,-1.615,14.32,-1.545), (56.645,-1.56,56.785,12.135), (-2.67,-1.545,-2.53,17.335), (43,2.565,43.33,2.895), (15.375,3.12,15.705,3.45), (63.255,4.995,63.585,5.325), (60.25,5.16,60.39,14.93), (63.35,5.325,63.49,22.43), (-6.19,9.335,-5.86,9.665), (25.4,11.16,42.425,11.23), (25.33,11.23,42.355,11.3), (25.33,11.3,25.47,19.335), (-3.665,11.335,-3.335,11.665), (23.335,11.335,23.665,11.665), (-3.57,11.665,-3.43,20.055), (23.43,11.665,23.57,20.845), (-1.6,11.715,14.8,11.785), (-1.67,11.785,14.73,11.855), (-1.67,11.855,-1.53,17.335), (56.155,12.135,57.735,12.205), (56.085,12.205,57.805,12.275), (56.085,12.275,56.225,21.335), (56.645,12.275,56.845,15.14), (57.665,12.275,57.805,15.14), (7.3,13.14,7.63,13.47), (61.335,13.335,61.665,13.665), (7.395,13.47,7.535,20.055), (61.43,13.665,61.57,14.93), (35.37,13.93,35.7,14.26), (35.465,14.26,35.605,20.845), (8.59,14.46,8.92,14.79), (8.685,14.79,8.825,19.055), (60.25,14.93,61.57,15), (60.32,15,61.5,15.07), (58.14,15.14,58.47,15.47), (36.66,15.25,36.99,15.58), (56.645,15.47,56.785,21.335), (57.185,15.47,57.325,18.335), (58.235,15.47,58.375,18.335), (36.755,15.58,36.895,19.845), (7.78,15.78,8.11,16.11), (7.875,16.11,8.015,20.055), (35.85,16.57,36.18,16.9), (35.945,16.9,36.085,20.845), (-2.765,17.335,-2.435,17.665), (-1.765,17.335,-1.435,17.665), (57.185,18.335,58.375,18.405), (57.255,18.405,58.425,18.475), (58.235,18.475,58.425,19.735), (8.685,19.055,10.305,19.125), (8.755,19.125,10.375,19.195), (10.235,19.195,10.375,27.835), (24.235,19.335,24.565,19.665), (25.235,19.335,25.565,19.665), (58.235,19.735,59.855,19.805), (58.285,19.805,59.925,19.875), (36.755,19.845,38.375,19.915), (58.285,19.875,58.425,27.835), (59.785,19.875,59.925,27.835), (36.825,19.915,38.445,19.985), (38.305,19.985,38.445,27.835), (-3.57,20.055,8.015,20.125), (-3.5,20.125,7.945,20.195), (23.43,20.845,36.085,20.915), (23.5,20.915,36.015,20.985), (55.99,21.335,56.32,21.665), (56.55,21.335,56.88,21.665), (64.335,21.335,64.665,21.665), (64.43,21.665,64.57,22.43), (63.35,22.43,64.57,22.5), (63.42,22.5,64.5,22.57), (10.14,27.835,10.47,28.165), (38.21,27.835,38.54,28.165), (58.19,27.835,58.52,28.165), (59.69,27.835,60.02,28.165)])
opamp_clean.add(gdstk.Reference(sky130_fd_pr__nfet_01v8_, (-4.925,-5.28)))
opamp_clean.add(gdstk.Reference(c_sky130_fd_pr__nfet_01v8_, (7.77,3.285)))
opamp_clean.add(gdstk.Reference(sky130_fd_pr__res_high_p, (-8.735,3.33)))
opamp_clean.add(gdstk.Reference(sky130_fd_pr__nfet_01v8_, (21.515,-5.37)))
opamp_clean.add(gdstk.Reference(c_sky130_fd_pr__nfet_01v8_, (35.395,2.73)))
opamp_clean.add(gdstk.Reference(sky130_fd_pr__cap_mim_m3, (61.2,5.16)))
opamp_clean.add(gdstk.Reference(sky130_fd_pr__nfet_01v8_, (57.815,-4.73)))
opamp_clean.add(gdstk.Reference(sky130_fd_pr__pfet_01v8_, (7.705,14.625)))
opamp_clean.add(gdstk.Reference(sky130_fd_pr__pfet_01v8_, (35.775,15.415)))
opamp_clean.add(gdstk.Reference(sky130_fd_pr__pfet_01v8_, (57.255,15.305)))
opamp_clean.add(gdstk.Label('VDD', (-12.15,28), layer=70, texttype=5))
opamp_clean.add(gdstk.Label('net1', (-12.15,9.5), layer=70, texttype=5))
opamp_clean.add(gdstk.Label('net2', (-4.15,11.5), layer=70, texttype=5))
opamp_clean.add(gdstk.Label('net3', (26.85,13.5), layer=70, texttype=5))
opamp_clean.add(gdstk.Label('net4', (-0.15,-3), layer=70, texttype=5))
opamp_clean.add(gdstk.Label('VINP', (-3.15,17.5), layer=70, texttype=5))
opamp_clean.add(gdstk.Label('VINN', (24.35,19.5), layer=70, texttype=5))
opamp_clean.add(gdstk.Label('VOUT', (54.85,21.5), layer=70, texttype=5))
opamp_clean.add(gdstk.Label('VSS', (-12.15,-14.3), layer=70, texttype=5))
opamp_clean.add(gdstk.Label('VINP', (18.5,17.5), layer=70, texttype=5))
opamp_clean.add(gdstk.Label('VINN', (44.5,19.5), layer=70, texttype=5))
opamp_clean.add(gdstk.Label('VOUT', (65.25,21.5), layer=70, texttype=5))
opamp_clean.add(gdstk.Label('VDD', (65.25,28), layer=70, texttype=5))
opamp_clean.add(gdstk.Label('VSS', (65.25,-14.3), layer=70, texttype=5))

lib.write_gds('opamp_clean.gds')
